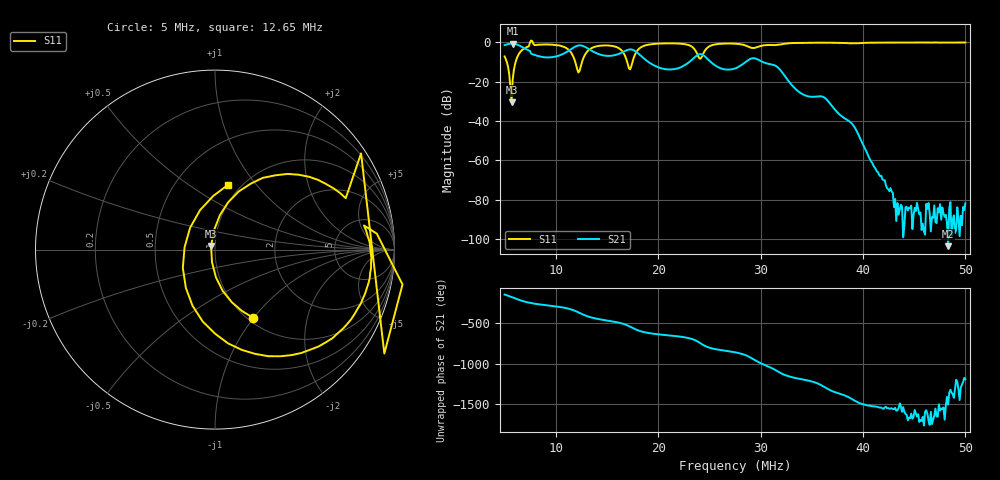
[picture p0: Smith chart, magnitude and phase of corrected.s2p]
! S11/S21 only; reverse parameters are placeholders. Device calibration unverified.
! [Saver CAL applied] C:\Users\aknya\MyProjects\rf-simulator\calibration2.cal | Ideal standards assumed | Input: NanoVNA F V2 profile | COM3 | 2026-09-08T12:24:01.6343094-04:00 | device calibration unverified
# HZ S RI R 50
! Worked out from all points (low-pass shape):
!   401 points, 5 MHz to 50 MHz, reference 50 ohm
!   highest |S21| = -0.68 dB at 5.787 MHz (marker M1); lowest = -103.7 dB at 48.31 MHz (marker M2)
!   |S21| within 3 dB of the highest: start of sweep to 7.157 MHz; 11.45 MHz to 13.29 MHz (1.832 MHz wide, 14.8 % of centre)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
!   lowest |S11| = -30.6 dB at 5.675 MHz (marker M3), VSWR 1.06, Z = 47.8 + j1.87 ohm
!   |S11| at or under -10 dB: 5.208 MHz to 6.08 MHz (871.8 kHz wide, 15.4 % of centre); 11.89 MHz to 12.57 MHz (673.2 kHz wide, 5.5 % of centre); 16.96 MHz to 17.49 MHz (526.3 kHz wide, 3.06 % of centre)
!   S12 and S22 are empty: the file has one direction only
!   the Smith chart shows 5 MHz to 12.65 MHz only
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5000000  0.2118 -0.3791  -0.6892 -0.4843  0 0  0 0
5675000  -0.0219 0.0195  -0.9216 -0.0714  0 0  0 0
5787500  -0.00533 0.108  -0.9246 0.02  0 0  0 0
7250000  0.6981 0.3144  -0.313 0.5543  0 0  0 0
7812500  0.9015 0.0888  -0.1202 0.4715  0 0  0 0
1.11875e7  0.2957 -0.5939  0.4354 0.3974  0 0  0 0
1.25375e7  -0.00934 0.2993  0.7422 -0.3432  0 0  0 0
1.47875e7  0.8206 -0.1121  -0.0794 -0.4493  0 0  0 0
1.63625e7  0.3408 -0.5423  -0.3967 -0.3536  0 0  0 0
1.715e7  -0.1946 -0.091  -0.6484 -0.0594  0 0  0 0
1.805e7  0.3668 0.5371  -0.3444 0.383  0 0  0 0
2.0075e7  0.9213 0.0444  0.0279 0.2243  0 0  0 0
2.39e7  0.348 -0.2733  0.477 -0.0727  0 0  0 0
2.46875e7  0.6741 0.0339  0.1616 -0.3707  0 0  0 0
2.75e7  0.8014 -0.4416  -0.16 -0.1438  0 0  0 0
2.975e7  0.6843 -0.3384  -0.0843 0.3517  0 0  0 0
3.1325e7  0.7234 -0.4348  0.2563 0.0537  0 0  0 0
3.50375e7  0.7006 -0.6696  -0.031 -0.0264  0 0  0 0
3.8975e7  0.5328 -0.7633  0.0082 6.8e-05  0 0  0 0
4.2575e7  0.4418 -0.8718  -6.52e-05 -0.00015  0 0  0 0
4.83125e7  0.2228 -0.9572  2.89e-06 -5.85e-06  0 0  0 0
5e7  0.1573 -0.9682  -2.75e-05 -7.54e-05  0 0  0 0
